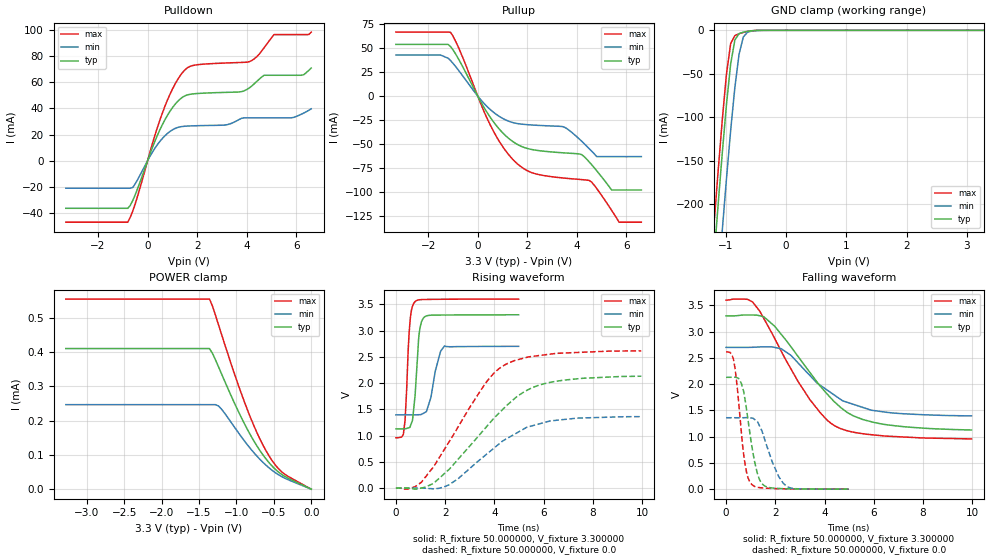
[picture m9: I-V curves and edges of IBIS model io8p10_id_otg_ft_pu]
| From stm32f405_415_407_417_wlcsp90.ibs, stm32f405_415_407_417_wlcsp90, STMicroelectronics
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|   Model io8p10_id_otg_ft_pu
[Model]  io8p10_id_otg_ft_pu
Model_type I/O
Polarity   Non-Inverting
Enable   Active-Low
Vinl =   0.990000V
Vinh =   2.310000V
Vmeas =  1.650000V
Cref =   40.000000pF
Rref =   100.000000M
Vref =   0.0V
C_comp   2.283100pF   2.214500pF   2.357400pF
[Temperature Range]   25.000000   0.125000k   -40.000000
[Pullup Reference]   3.300000V   2.700000V   3.600000V
[Pulldown Reference]   0.0V   0.0V   0.0V
[POWER Clamp Reference]   3.300000V   2.700000V   3.600000V
[GND Clamp Reference]   0.0V   0.0V   0.0V
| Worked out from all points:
|   slope of the pulldown table from 0 to 0.495 V, typ, clamps not added: 20.9 ohm
|   slope of the pullup table from 0 to 0.495 V, typ, clamps not added: 22.6 ohm
|   GND clamp passes 1 mA (typ) near -0.62 V on its own axis
|   rising waveform, R_fixture 50.000000, V_fixture 3.300000: 20-80 % time 193ps typ, 345ps min, 163ps max; typ from 1.13 V to 3.3 V
|   rising waveform, R_fixture 50.000000, V_fixture 0.0: 20-80 % time 2.52ns typ, 2.3ns min, 2.11ns max; typ from 0.005 V to 2.13 V
|   falling waveform, R_fixture 50.000000, V_fixture 3.300000: 20-80 % time 2.26ns typ, 2.05ns min, 2.03ns max; typ from 3.3 V to 1.13 V
|   falling waveform, R_fixture 50.000000, V_fixture 0.0: 20-80 % time 436ps typ, 637ps min, 341ps max; typ from 2.13 V to 0.005 V
[Pulldown]
|Voltage   I(typ)   I(min)   I(max)
-3.3V     -36.46mA   -21.09mA   -47.09mA
-800mV    -36.46mA   -21.09mA   -47.09mA
-600mV    -30.5mA    -20.54mA   -38.69mA
700mV     31.4mA     19.11mA    41.71mA
1.2V      45.15mA    25.37mA    61.75mA
1.6V      50.35mA    26.5mA     71.05mA
3.1V      52.28mA    27.26mA    74.75mA
4.1V      55.64mA    32.83mA    75.8mA
4.7V      65.4mA     32.83mA    86.49mA
5.1V      65.4mA     32.83mA    96.56mA
6.2V      65.4mA     35.57mA    96.56mA
6.6V      70.92mA    39.71mA    98.46mA
[Pullup]
|Voltage   I(typ)   I(min)   I(max)
-3.3V     54.05mA    42.89mA    66.92mA
-1.1V     51.84mA    37.2mA     66.69mA
500mV     -22.06mA   -13.99mA   -30.02mA
1.5V      -49.09mA   -28.3mA    -68.55mA
2.2V      -56.03mA   -30.32mA   -80.33mA
3.5V      -59.51mA   -32.64mA   -85.89mA
4.2V      -61.41mA   -47.48mA   -87.43mA
4.5V      -69.05mA   -55.11mA   -88.35mA
4.8V      -78.2mA    -63.4mA    -96.8mA
5.4V      -98.3mA    -63.4mA    -119.5mA
5.7V      -98.3mA    -63.4mA    -132mA
6.6V      -98.3mA    -63.4mA    -132mA
[GND_clamp]
|Voltage   I(typ)   I(min)   I(max)
-3.3V     -2.318A    -2.397A    -2.291A
-1.2V     -265.5mA   -356.1mA   -227.2mA
-1.13V    -202.7mA   -292.9mA   -164.1mA
-1.06V    -142.2mA   -231.2mA   -104.1mA
-990mV    -85.98mA   -171.6mA   -50.73mA
-920mV    -38.81mA   -115.5mA   -15.3mA
-850mV    -11.1mA    -65.61mA   -6.021mA
-780mV    -3.796mA   -27.43mA   -3.892mA
-710mV    -2.096mA   -7.699mA   -2.393mA
-640mV    -1.154mA   -2.125mA   -1.227mA
-570mV    -528.1uA   -803.6uA   -480.7uA
3.28V     0A         0A         0A
[POWER_clamp]
|Voltage   I(typ)   I(min)   I(max)
-3.28V    410.1uA    246.5uA    554.5uA
-1.36V    410.1uA    246.5uA    554.5uA
-1.32V    396.3uA    246.5uA    534.1uA
-1.28V    377.3uA    246.5uA    507.5uA
-1.2V     337.1uA    233.5uA    452.5uA
-1.04V    257.7uA    185.3uA    345.3uA
-880mV    185.4uA    137uA      247uA
-760mV    138.3uA    104.8uA    181.8uA
-640mV    98.44uA    77.14uA    126.4uA
-520mV    66.65uA    54.47uA    82.45uA
-400mV    43.68uA    37.32uA    51.43uA
0V        0A         0A         0A
[Ramp]
| variable   typ   min   max
dV/dt_r  1.26642/2.52306n   0.81168/2.30040n   1.56297/2.11421n
dV/dt_f  1.27992/2.24440n   0.77328/2.03555n   1.57182/2.03424n
R_load = 50.000000
[Rising Waveform]
R_fixture= 50.000000
V_fixture= 3.300000
V_fixture_min= 2.700000
V_fixture_max= 3.600000
|time   V(typ)   V(min)   V(max)
0s        1.129V     1.397V     959.6mV
300.3ps   1.131V     1.397V     1.022V
370.4ps   1.133V     1.397V     1.288V
500.5ps   1.147V     1.397V     2.651V
580.6ps   1.176V     1.397V     3.213V
760.8ps   1.682V     1.396V     3.542V
940.9ps   2.93V      1.399V     3.585V
1.171ns   3.263V     1.44V      3.591V
1.972ns   3.296V     2.707V     3.596V
4.985ns   3.3V       2.7V       3.599V
[Rising Waveform]
R_fixture= 50.000000
V_fixture= 0.0
V_fixture_min= 0.0
V_fixture_max= 0.0
|time   V(typ)   V(min)   V(max)
0s        4.838mV    4.389mV    5.42mV
780.8ps   -15.79mV   4.174mV    30.29mV
1.041ns   4.973mV    2.333mV    118mV
1.542ns   98.41mV    -10.77mV   417.7mV
2.162ns   360.2mV    67.41mV    885.3mV
3.624ns   1.14V      624.9mV    1.986V
4.404ns   1.53V      917.9mV    2.342V
5.245ns   1.845V     1.142V     2.481V
6.126ns   2V         1.263V     2.543V
9.97ns    2.131V     1.363V     2.614V
[Falling Waveform]
R_fixture= 50.000000
V_fixture= 3.300000
V_fixture_min= 2.700000
V_fixture_max= 3.600000
|time   V(typ)   V(min)   V(max)
0s        3.3V       2.7V       3.599V
880.9ps   3.315V     2.7V       3.612V
1.081ns   3.315V     2.702V     3.562V
1.542ns   3.278V     2.711V     3.243V
2.242ns   2.948V     2.674V     2.628V
3.403ns   2.225V     2.167V     1.708V
4.424ns   1.655V     1.785V     1.206V
5.185ns   1.395V     1.615V     1.087V
6.026ns   1.271V     1.498V     1.034V
9.97ns    1.129V     1.397V     959.6mV
[Falling Waveform]
R_fixture= 50.000000
V_fixture= 0.0
V_fixture_min= 0.0
V_fixture_max= 0.0
|time   V(typ)   V(min)   V(max)
0s        2.131V     1.363V     2.614V
300.3ps   2.132V     1.362V     2.476V
620.6ps   2.018V     1.362V     1.09V
840.8ps   1.493V     1.364V     310.2mV
1.031ns   867.5mV    1.357V     101.8mV
1.261ns   323.5mV    1.292V     40.93mV
1.451ns   114.9mV    1.118V     29.53mV
1.882ns   26.54mV    517.3mV    17.7mV
2.432ns   12.59mV    70.58mV    11.25mV
4.985ns   4.838mV    4.389mV    5.42mV
